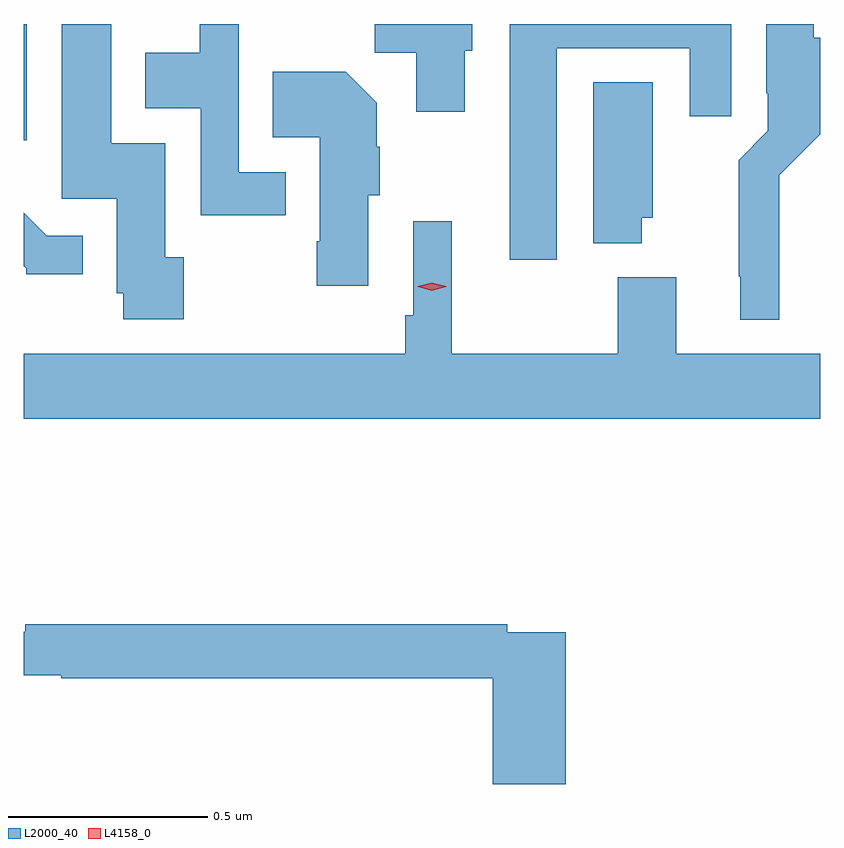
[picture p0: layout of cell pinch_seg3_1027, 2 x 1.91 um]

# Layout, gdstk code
import gdstk
lib = gdstk.Library(unit=1e-6, precision=1e-09)
def R(c, l, rs):  # rectangles x0, y0, x1, y1
    for r in rs: c.add(gdstk.rectangle(r[:2], r[2:], *l))
def P(c, l, *ps):  # polygons
    for p in ps: c.add(gdstk.Polygon(p, *l))
L2000_40 = (2000, 40)
L4158_0 = (4158, 0)

pinch_seg3_1027 = lib.new_cell('pinch_seg3_1027')
R(pinch_seg3_1027, L2000_40, [(440.988,696.288,440.995,696.58)])
P(pinch_seg3_1027, L2000_40, [(442.327,696.519),(442.661,696.519),(442.661,696.348),(442.765,696.348),(442.765,696.58),(442.208,696.58),(442.208,695.988),(442.327,695.988)],
  [(442.096,696.513),(442.114,696.513),(442.114,696.58),(441.869,696.58),(441.869,696.508),(441.974,696.508),(441.974,696.36),(442.096,696.36)],
  [(441.646,696.207),(441.528,696.207),(441.528,696.58),(441.43,696.58),(441.43,696.508),(441.293,696.508),(441.293,696.368),(441.432,696.368),(441.432,696.099),(441.646,696.099)],
  [(442.885,696.2),(442.988,696.303),(442.988,696.546),(442.972,696.546),(442.972,696.58),(442.853,696.58),(442.853,696.406),(442.857,696.406),(442.857,696.312),(442.783,696.238),(442.783,695.947),(442.787,695.947),(442.787,695.837),(442.885,695.837)],
  [(441.39,695.994),(441.343,695.994),(441.343,696.28),(441.208,696.28),(441.208,696.58),(441.083,696.58),(441.083,696.141),(441.221,696.141),(441.221,695.904),(441.238,695.904),(441.238,695.838),(441.39,695.838)],
  [(441.853,696.15),(441.882,696.15),(441.882,696.272),(441.874,696.272),(441.874,696.382),(441.796,696.46),(441.613,696.46),(441.613,696.296),(441.731,696.296),(441.731,696.034),(441.724,696.034),(441.724,695.922),(441.853,695.922)],
  [(442.54,696.093),(442.567,696.093),(442.567,696.434),(442.418,696.434),(442.418,696.029),(442.54,696.029)],
  [(441.136,696.048),(441.045,696.048),(440.988,696.106),(440.988,695.972),(440.994,695.966),(440.994,695.951),(441.136,695.951)],
  [(442.988,695.752),(442.627,695.752),(442.627,695.944),(442.48,695.944),(442.48,695.752),(442.063,695.752),(442.063,696.085),(441.966,696.085),(441.966,695.848),(441.946,695.848),(441.946,695.752),(440.988,695.752),(440.988,695.588),(442.988,695.588)],
  [(442.349,695.052),(442.202,695.052),(442.202,695.072),(440.992,695.072),(440.992,695.053),(440.988,695.053),(440.988,694.944),(441.082,694.944),(441.082,694.936),(442.166,694.936),(442.166,694.671),(442.349,694.671)])
P(pinch_seg3_1027, L4158_0, [(442.013,695.91),(441.977,695.92),(441.977,695.92),(441.977,695.921),(442.013,695.93),(442.049,695.921),(442.049,695.92),(442.049,695.92)])

lib.write_gds('pinch_seg3_1027.gds')
